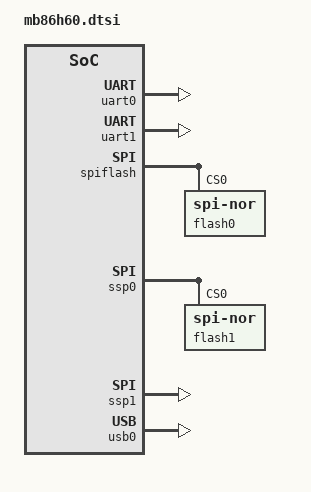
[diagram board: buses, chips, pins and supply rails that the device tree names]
// SPDX-License-Identifier: GPL-2.0+
/*
 * Copyright (C) 2021 Thomas Schmidt <spitzbube@mail.bg>
 */

#include <dt-bindings/pinctrl/mb86h60.h>

/ {
	compatible = "fujitsu,mb86h60";
	#address-cells = <1>;
	#size-cells = <1>;

	soc {
		compatible = "simple-bus";
		#address-cells = <1>;
		#size-cells = <1>;

		gpio: gpio@c3000000 {
			compatible = "fujitsu,mb86h60-gpio";
			reg = <0xc3000000 0x1000>;
			pinctrl_uart0: gpio_uart0 {
				fujitsu,function = <MB86H60_GPIO_IN_UART0_DATA MB86H60_GPIO_OUT_UART0_DATA>;
				fujitsu,pins = <32 33>;
			};
			pinctrl_uart1: gpio_uart1 {
				fujitsu,function = <MB86H60_GPIO_IN_UART1_DATA MB86H60_GPIO_OUT_UART1_DATA>;
				fujitsu,pins = <35 34>;
			};
			pinctrl_spiflash: gpio_spiflash {
				fujitsu,function = <MB86H60_GPIO_IN_SFLASH_DATA 
									MB86H60_GPIO_OUT_SFLASH_HOLD
									MB86H60_GPIO_OUT_SFLASH_CS
									MB86H60_GPIO_OUT_SFLASH_CLK
									MB86H60_GPIO_OUT_SFLASH_DATA>;
				fujitsu,pins = <43 44 45 46 47>;
			};
			pinctrl_ssp0: gpio_ssp0 {
				fujitsu,function = <MB86H60_GPIO_IN_SSP0_DATA
									MB86H60_GPIO_OUT_SSP0_OE
									MB86H60_GPIO_OUT_SSP0_FFS 
									MB86H60_GPIO_OUT_SSP0_CLK									
									MB86H60_GPIO_OUT_SSP0_DATA>;
				fujitsu,pins = <43 44 45 46 47>;
			};
		};

		uart0: serial@c2000000 {
			compatible = "arm,pl011";
			reg = <0xc2000000 0x1000>;
			clock = <81000000>;
			pinctrl-names = "default";
			pinctrl-0 = <&pinctrl_uart0>;
		}; 

		uart1: serial@ce000000 {
			compatible = "arm,pl011";
			reg = <0xce000000 0x1000>;
			clock = <81000000>;
			pinctrl-names = "default";
			pinctrl-0 = <&pinctrl_uart1>;
		}; 

		spiflash: spiflash@c0000000 {
			compatible = "fujitsu,mb86h60-spiflash";
			reg = <0xc0000000 0x1000>;
			pinctrl-names = "default";
			pinctrl-0 = <&pinctrl_spiflash>;
			#address-cells = <1>;
			#size-cells = <0>;

			flash0: flash@0 {
				compatible = "jedec,spi-nor";
				reg = <0>;
				#address-cells = <1>;
				#size-cells = <1>;
/*
				partition@00000000 {
					label = "U-Boot";
					reg = <0x0 0xC0000>;
				};

				partition@000C0000 {
					label = "env";
					reg = <0xC0000 0x2000>;
				};
				
				partition@000C2000 {
					label = "splash";
					reg = <0xC2000 0x13e000>;
				}; 
*/
			};
		};

		ssp0: ssp@d1000000 {
			compatible = "arm,pl022-spi";
			reg = <0xd1000000 0x1000>;
			pinctrl-names = "default";
			pinctrl-0 = <&pinctrl_ssp0>;
			#address-cells = <1>;
			#size-cells = <0>;
			flash1: flash@0 {
				compatible = "jedec,spi-nor";
				reg = <0>;
				#address-cells = <1>;
				#size-cells = <1>;
			};
		};

		ssp1: ssp@d4000000 {
			compatible = "arm,pl022-spi";
			reg = <0xd4000000 0x1000>;
		};
		
		dma: dma@c7000000 {
			compatible = "fujitsu,mb86h60-dma";
			reg = <0xc7000000 0x800>;
		};
					
		usb0: usb@c7000800 {
			compatible = "fujitsu,mb86h60-musb";
			reg = <0xc7000800 0x1000>, <0xc7000014 0x04>;
			reg-names = "usb-base", "usb-mode";
		};
		
	};

};

